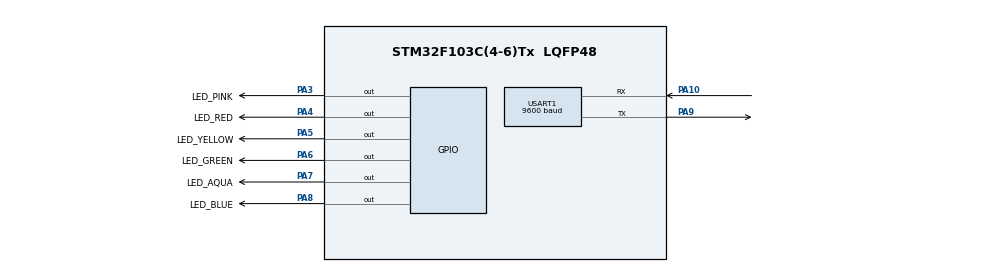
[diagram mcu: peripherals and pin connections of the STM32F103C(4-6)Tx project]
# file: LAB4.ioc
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Mcu.Family=STM32F1
Mcu.Name=STM32F103C(4-6)Tx
Mcu.Package=LQFP48
NVIC.PriorityGroup=NVIC_PRIORITYGROUP_4
NVIC.TIM2_IRQn=true\:0\:0\:false\:false\:true\:true\:true\:true
NVIC.USART1_IRQn=true\:0\:0\:false\:false\:true\:true\:true\:true
PA10.Mode=Asynchronous
PA10.Signal=USART1_RX
PA3.GPIO_Label=LED_PINK
PA3.Signal=GPIO_Output
PA4.GPIO_Label=LED_RED
PA4.Signal=GPIO_Output
PA5.GPIO_Label=LED_YELLOW
PA5.Signal=GPIO_Output
PA6.GPIO_Label=LED_GREEN
PA6.Signal=GPIO_Output
PA7.GPIO_Label=LED_AQUA
PA7.Signal=GPIO_Output
PA8.GPIO_Label=LED_BLUE
PA8.Signal=GPIO_Output
PA9.Mode=Asynchronous
PA9.Signal=USART1_TX
ProjectManager.HeapSize=0x200
ProjectManager.StackSize=0x400
ProjectManager.TargetToolchain=STM32CubeIDE
RCC.APB1Freq_Value=8000000
RCC.APB2Freq_Value=8000000
TIM2.Period=9
TIM2.Prescaler=7999
USART1.BaudRate=9600
USART1.VirtualMode=VM_ASYNC
VP_SYS_VS_ND.Mode=No_Debug
VP_TIM2_VS_ClockSourceINT.Mode=Internal
board=custom

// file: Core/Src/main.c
/* USER CODE BEGIN Header */
/**
  ******************************************************************************
  * @file           : main.c
  * @brief          : Main program body
  ******************************************************************************
  * @attention
  *
  * Copyright (c) 2024 STMicroelectronics.
  * All rights reserved.
  *
  * This software is licensed under terms that can be found in the LICENSE file
  * in the root directory of this software component.
  * If no LICENSE file comes with this software, it is provided AS-IS.
  *
  ******************************************************************************
  */
/* USER CODE END Header */
#include "main.h"

/* USER CODE BEGIN Includes */
#include <stdio.h>
#include "scheduler.h"
/* USER CODE END Includes */

TIM_HandleTypeDef htim2;

UART_HandleTypeDef huart1;

void SystemClock_Config(void);
static void MX_GPIO_Init(void);
static void MX_TIM2_Init(void);
static void MX_USART1_UART_Init(void);
/* USER CODE BEGIN PFP */
void ledRedToggle(void);
void ledYellowToggle(void);
void ledGreenToggle(void);
void ledAquaToggle(void);
void ledBlueToggle(void);
void ledPinkToggle(void);
/* USER CODE END PFP */

/* USER CODE BEGIN 0 */
uint8_t temp = 0;
void HAL_UART_RxCpltCallback(UART_HandleTypeDef *huart) {
//	if(huart->Instance == USART2) {
//		HAL_UART_Receive_IT(&huart2, &temp, 1);
//		HAL_UART_Transmit(&huart2, &temp, 1, 50);
//	}
	if(huart->Instance == USART1) {
		HAL_UART_Receive_IT(&huart1, &temp, 1);
		HAL_UART_Transmit(&huart1, &temp, 1, 50);
	}
}
void timePrint(void) {
	char str[100];
	HAL_UART_Transmit(&huart1, (void*)str, sprintf(str, "%lu\r\n", HAL_GetTick()), 10);
}
/* USER CODE END 0 */

int main(void)
{

  /* MCU Configuration--------------------------------------------------------*/

  /* Reset of all peripherals, Initializes the Flash interface and the Systick. */
  HAL_Init();

  /* Configure the system clock */
  SystemClock_Config();

  /* Initialize all configured peripherals */
  MX_GPIO_Init();
  MX_TIM2_Init();
  MX_USART1_UART_Init();
  /* USER CODE BEGIN 2 */
  HAL_TIM_Base_Start_IT(&htim2);
  HAL_UART_Receive_IT(&huart1, &temp, 1);
  SCH_Init();
  /* USER CODE END 2 */

  /* Infinite loop */
  /* USER CODE BEGIN WHILE */
  /* AddTask testing section BEGIN */

 //  uint8_t task1 = SCH_AddTask(ledRedToggle, 1000, 1000);
   SCH_AddTask(ledYellowToggle, 0, 500);
   SCH_AddTask(ledGreenToggle, 0, 1000);
   SCH_AddTask(ledAquaToggle, 0, 1500);
   SCH_AddTask(ledBlueToggle, 0, 2000);
   SCH_AddTask(ledPinkToggle, 0, 2500);
   SCH_AddTask(timePrint, 0, 1000);
 //  SCH_AddTask(timePrint, 0, 500);

   /* AddTask testing section END */

   /* DeleteTask testing section BEGIN */
 //  SCH_DeleteTask(task1);
   /* DeleteTask testing section END */
  while (1)
  {
	  SCH_Dispatch();
    /* USER CODE END WHILE */

  }
}

void SystemClock_Config(void)
{
  RCC_OscInitTypeDef RCC_OscInitStruct = {0};
  RCC_ClkInitTypeDef RCC_ClkInitStruct = {0};

  /** Initializes the RCC Oscillators according to the specified parameters
  * in the RCC_OscInitTypeDef structure.
  */
  RCC_OscInitStruct.OscillatorType = RCC_OSCILLATORTYPE_HSI;
  RCC_OscInitStruct.HSIState = RCC_HSI_ON;
  RCC_OscInitStruct.HSICalibrationValue = RCC_HSICALIBRATION_DEFAULT;
  RCC_OscInitStruct.PLL.PLLState = RCC_PLL_NONE;
  if (HAL_RCC_OscConfig(&RCC_OscInitStruct) != HAL_OK)
  {
    Error_Handler();
  }

  /** Initializes the CPU, AHB and APB buses clocks
  */
  RCC_ClkInitStruct.ClockType = RCC_CLOCKTYPE_HCLK|RCC_CLOCKTYPE_SYSCLK
                              |RCC_CLOCKTYPE_PCLK1|RCC_CLOCKTYPE_PCLK2;
  RCC_ClkInitStruct.SYSCLKSource = RCC_SYSCLKSOURCE_HSI;
  RCC_ClkInitStruct.AHBCLKDivider = RCC_SYSCLK_DIV1;
  RCC_ClkInitStruct.APB1CLKDivider = RCC_HCLK_DIV1;
  RCC_ClkInitStruct.APB2CLKDivider = RCC_HCLK_DIV1;

  if (HAL_RCC_ClockConfig(&RCC_ClkInitStruct, FLASH_LATENCY_0) != HAL_OK)
  {
    Error_Handler();
  }
}

static void MX_TIM2_Init(void)
{

  TIM_ClockConfigTypeDef sClockSourceConfig = {0};
  TIM_MasterConfigTypeDef sMasterConfig = {0};

  htim2.Instance = TIM2;
  htim2.Init.Prescaler = 7999;
  htim2.Init.CounterMode = TIM_COUNTERMODE_UP;
  htim2.Init.Period = 9;
  htim2.Init.ClockDivision = TIM_CLOCKDIVISION_DIV1;
  htim2.Init.AutoReloadPreload = TIM_AUTORELOAD_PRELOAD_DISABLE;
  if (HAL_TIM_Base_Init(&htim2) != HAL_OK)
  {
    Error_Handler();
  }
  sClockSourceConfig.ClockSource = TIM_CLOCKSOURCE_INTERNAL;
  if (HAL_TIM_ConfigClockSource(&htim2, &sClockSourceConfig) != HAL_OK)
  {
    Error_Handler();
  }
  sMasterConfig.MasterOutputTrigger = TIM_TRGO_RESET;
  sMasterConfig.MasterSlaveMode = TIM_MASTERSLAVEMODE_DISABLE;
  if (HAL_TIMEx_MasterConfigSynchronization(&htim2, &sMasterConfig) != HAL_OK)
  {
    Error_Handler();
  }

}

static void MX_USART1_UART_Init(void)
{

  huart1.Instance = USART1;
  huart1.Init.BaudRate = 9600;
  huart1.Init.WordLength = UART_WORDLENGTH_8B;
  huart1.Init.StopBits = UART_STOPBITS_1;
  huart1.Init.Parity = UART_PARITY_NONE;
  huart1.Init.Mode = UART_MODE_TX_RX;
  huart1.Init.HwFlowCtl = UART_HWCONTROL_NONE;
  huart1.Init.OverSampling = UART_OVERSAMPLING_16;
  if (HAL_UART_Init(&huart1) != HAL_OK)
  {
    Error_Handler();
  }

}

static void MX_GPIO_Init(void)
{
  GPIO_InitTypeDef GPIO_InitStruct = {0};

  /* GPIO Ports Clock Enable */
  __HAL_RCC_GPIOA_CLK_ENABLE();

  /*Configure GPIO pin Output Level */
  HAL_GPIO_WritePin(GPIOA, LED_PINK_Pin|LED_RED_Pin|LED_YELLOW_Pin|LED_GREEN_Pin
                          |LED_AQUA_Pin|LED_BLUE_Pin, GPIO_PIN_RESET);

  /*Configure GPIO pins : LED_PINK_Pin LED_RED_Pin LED_YELLOW_Pin LED_GREEN_Pin
                           LED_AQUA_Pin LED_BLUE_Pin */
  GPIO_InitStruct.Pin = LED_PINK_Pin|LED_RED_Pin|LED_YELLOW_Pin|LED_GREEN_Pin
                          |LED_AQUA_Pin|LED_BLUE_Pin;
  GPIO_InitStruct.Mode = GPIO_MODE_OUTPUT_PP;
  GPIO_InitStruct.Pull = GPIO_NOPULL;
  GPIO_InitStruct.Speed = GPIO_SPEED_FREQ_LOW;
  HAL_GPIO_Init(GPIOA, &GPIO_InitStruct);

}

/* USER CODE BEGIN 4 */
void ledRedToggle(void) {
	HAL_GPIO_TogglePin(LED_RED_GPIO_Port, LED_RED_Pin);
}

void ledYellowToggle(void) {
	HAL_GPIO_TogglePin(LED_YELLOW_GPIO_Port, LED_YELLOW_Pin);
}

void ledGreenToggle(void) {
	HAL_GPIO_TogglePin(LED_GREEN_GPIO_Port, LED_GREEN_Pin);
}

void ledAquaToggle(void) {
	HAL_GPIO_TogglePin(LED_AQUA_GPIO_Port, LED_AQUA_Pin);
}

void ledBlueToggle(void) {
	HAL_GPIO_TogglePin(LED_BLUE_GPIO_Port, LED_BLUE_Pin);
}

void ledPinkToggle(void) {
	HAL_GPIO_TogglePin(LED_PINK_GPIO_Port, LED_PINK_Pin);
}

void HAL_TIM_PeriodElapsedCallback(TIM_HandleTypeDef *htim) {
	SCH_Update();
}
/* USER CODE END 4 */

void Error_Handler(void)
{
  __disable_irq();
  while (1)
  {
  }
}
